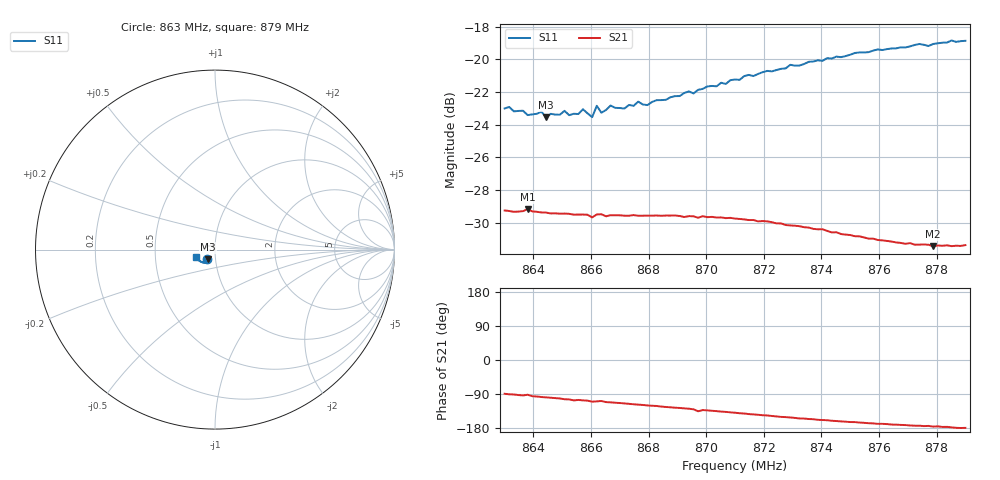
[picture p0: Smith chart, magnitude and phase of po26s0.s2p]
# HZ S RI R 50
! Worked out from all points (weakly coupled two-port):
!   101 points, 863 MHz to 879 MHz, reference 50 ohm
!   highest |S21| = -29.17 dB at 863.8 MHz (marker M1); lowest = -31.4 dB at 877.88 MHz (marker M2)
!   lowest |S11| = -23.5 dB at 864.44 MHz (marker M3), VSWR 1.14, Z = 46 - j4.98 ohm
!   |S11| at or under -10 dB: start of sweep to end of sweep
!   S12 and S22 are empty: the file has one direction only
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8.63e8  -0.0448 -0.0548  0.000559 -0.0345  0 0  0 0
8.6364e8  -0.0423 -0.0553  -0.00205 -0.0343  0 0  0 0
8.638e8  -0.0385 -0.0555  -0.000998 -0.0348  0 0  0 0
8.6428e8  -0.0401 -0.0564  -0.00456 -0.0337  0 0  0 0
8.6444e8  -0.0389 -0.0539  -0.00507 -0.0336  0 0  0 0
8.6508e8  -0.0383 -0.0582  -0.00786 -0.0328  0 0  0 0
8.6524e8  -0.0384 -0.0555  -0.00816 -0.0327  0 0  0 0
8.6556e8  -0.0388 -0.0559  -0.00891 -0.0323  0 0  0 0
8.6572e8  -0.0391 -0.0585  -0.0095 -0.0321  0 0  0 0
8.6604e8  -0.0341 -0.0572  -0.0112 -0.0309  0 0  0 0
8.662e8  -0.0414 -0.059  -0.011 -0.0317  0 0  0 0
8.6636e8  -0.035 -0.0591  -0.0105 -0.0319  0 0  0 0
8.6668e8  -0.0387 -0.061  -0.0123 -0.031  0 0  0 0
8.6716e8  -0.0361 -0.0609  -0.0138 -0.0302  0 0  0 0
8.6764e8  -0.0384 -0.0636  -0.0155 -0.0294  0 0  0 0
8.6796e8  -0.0366 -0.0626  -0.0166 -0.0288  0 0  0 0
8.6844e8  -0.0384 -0.0645  -0.018 -0.0279  0 0  0 0
8.71e8  -0.0495 -0.0713  -0.0246 -0.0213  0 0  0 0
8.7372e8  -0.0675 -0.0718  -0.0277 -0.0122  0 0  0 0
8.7644e8  -0.0901 -0.0596  -0.0273 -0.00463  0 0  0 0
8.7788e8  -0.1006 -0.0481  -0.0267 -0.00195  0 0  0 0
8.79e8  -0.1065 -0.0407  -0.027 -0.00045  0 0  0 0
